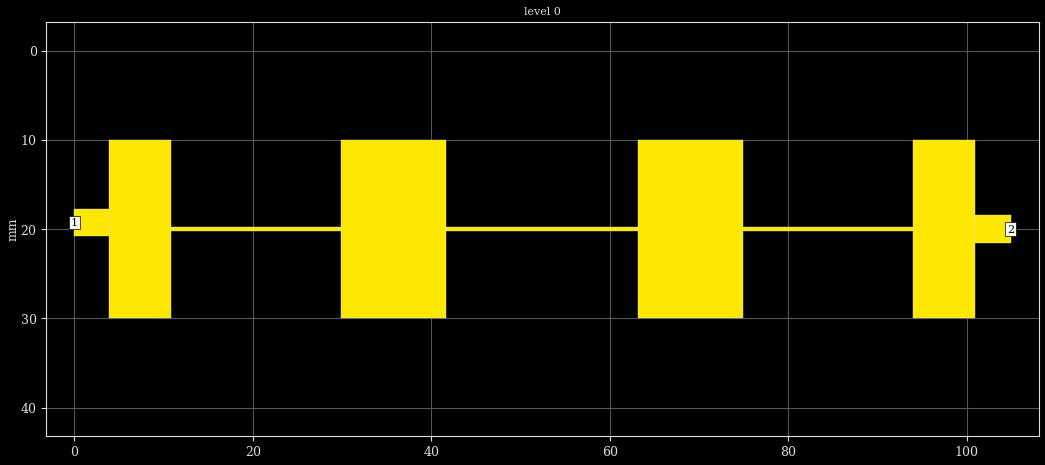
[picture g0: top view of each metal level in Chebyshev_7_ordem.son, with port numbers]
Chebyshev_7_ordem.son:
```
FTYP SONPROJ 13 ! Sonnet Project File
VER 15.53.lite
HEADER
LIC SL290709.106431 847bebfebdba DESKTOP-1CMJ3DP Arihe
DAT 05/13/2019 03:21:31
BUILT_BY_CREATED xgeom 15.53-Lite 04/13/2019 20:59:13
BUILT_BY_SAVED xgeom 15.53-Lite
MDATE 05/13/2019 03:21:29
HDATE 05/13/2019 03:21:29
END HEADER
DIM
FREQ GHZ
RSVY OHMM
IND NH
LNG MM
ANG DEG
CON /OH
CAP PF
RES OH
END DIM
FREQ
ABS 1.0e-9 3.0 
END FREQ
CONTROL
ABS
OPTIONS  -dj 
SPEED 0
CACHE_ABS 1
TARG_ABS 300
Q_ACC N
END CONTROL
GEO
DRP1 LEFT LINK
POLY 12 1
1
DRP1 RIGHT LINK
POLY 14 1
0
TMET "Lossless" 0 SUP 0 0 0 0
BMET "Lossless" 0 SUP 0 0 0 0
MET "Copper" 1 NOR 58000000 0 0.0347 
BOX 1 104.9 40 2098 160 20 0
      20 1 1 0 0 0 0 "Air"
      1.5306 4.1 1 0.02 0 0 0 "FR-4"
LORGN 0 40 U 
POR1 STD
POLY 12 1
3
1 50 0 0 0 -2.371834285e-009 19.25 
POR1 STD
POLY 14 1
1
2 50 0 0 0 104.9 20 
NUM 9
0 5 0 N 12 1 1 100 100 0 0 0 Y
-2.371834285e-009 17.7
3.999999997 17.7
3.999999997 20.8
-2.371834285e-009 20.8
-2.371834285e-009 17.7
END
0 5 0 N 14 1 1 100 100 0 0 0 Y
100.9 18.45
104.9 18.45
104.9 21.55
100.9 21.55
100.9 18.45
END
0 5 0 N 30 1 1 100 100 0 0 0 Y
3.899998017 10
10.79999802 10
10.79999802 30
3.899998017 30
3.899998017 10
END
0 5 0 N 31 1 1 100 100 0 0 0 Y
93.99999802 10
100.899998 10
100.899998 30
93.99999802 30
93.99999802 10
END
0 5 0 N 34 1 1 100 100 0 0 0 Y
29.89999802 10
41.59999802 10
41.59999802 30
29.89999802 30
29.89999802 10
END
0 5 0 N 35 1 1 100 100 0 0 0 Y
63.19999802 10
74.89999802 10
74.89999802 30
63.19999802 30
63.19999802 10
END
0 5 0 N 38 1 1 100 100 0 0 0 Y
10.79999802 19.75
29.89999802 19.75
29.89999802 20.25
10.79999802 20.25
10.79999802 19.75
END
0 5 0 N 39 1 1 100 100 0 0 0 Y
74.89999802 19.75
93.99999802 19.75
93.99999802 20.25
74.89999802 20.25
74.89999802 19.75
END
0 5 0 N 42 1 1 100 100 0 0 0 Y
41.59999802 19.75
63.19999802 19.75
63.19999802 20.25
41.59999802 20.25
41.59999802 19.75
END
END GEO
OPT
MAX 100
VARS
END
END OPT
VARSWP
END VARSWP
QSG
IMPORT NO
EXTRA_METAL NO
UNITS YES
ALIGN NO
REF NO
VIEW_RES NO
METALS YES
USED NO
END QSG
```
